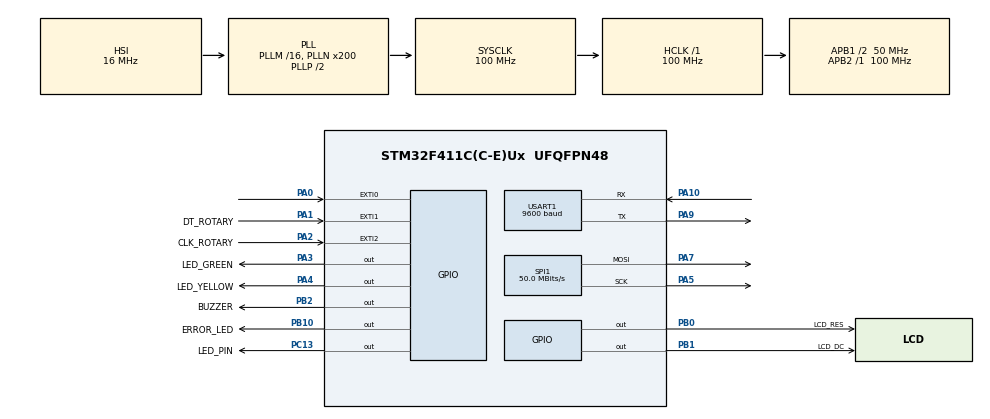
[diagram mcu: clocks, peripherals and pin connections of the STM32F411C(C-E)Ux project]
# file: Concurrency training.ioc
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Dma.Request0=SPI1_TX
Dma.SPI1_TX.0.Direction=DMA_MEMORY_TO_PERIPH
Dma.SPI1_TX.0.FIFOMode=DMA_FIFOMODE_DISABLE
Dma.SPI1_TX.0.Instance=DMA2_Stream2
Dma.SPI1_TX.0.MemDataAlignment=DMA_MDATAALIGN_BYTE
Dma.SPI1_TX.0.MemInc=DMA_MINC_ENABLE
Dma.SPI1_TX.0.Mode=DMA_NORMAL
Dma.SPI1_TX.0.PeriphDataAlignment=DMA_PDATAALIGN_BYTE
Dma.SPI1_TX.0.PeriphInc=DMA_PINC_DISABLE
Dma.SPI1_TX.0.Priority=DMA_PRIORITY_LOW
Mcu.Family=STM32F4
Mcu.Name=STM32F411C(C-E)Ux
Mcu.Package=UFQFPN48
NVIC.DMA2_Stream2_IRQn=true\:0\:0\:false\:false\:true\:false\:true\:true
NVIC.EXTI0_IRQn=true\:0\:0\:false\:false\:true\:true\:true\:true
NVIC.EXTI1_IRQn=true\:0\:0\:true\:false\:true\:true\:true\:true
NVIC.EXTI2_IRQn=true\:0\:0\:true\:false\:true\:true\:true\:true
NVIC.PriorityGroup=NVIC_PRIORITYGROUP_4
NVIC.TIM1_TRG_COM_TIM11_IRQn=true\:0\:0\:true\:false\:true\:true\:true\:true
NVIC.USART1_IRQn=true\:0\:0\:false\:false\:true\:true\:true\:true
PA0-WKUP.GPIO_ModeDefaultEXTI=GPIO_MODE_IT_FALLING
PA0-WKUP.Signal=GPXTI0
PA1.GPIO_Label=DT_ROTARY
PA1.GPIO_ModeDefaultEXTI=GPIO_MODE_IT_RISING_FALLING
PA1.Signal=GPXTI1
PA10.Mode=Asynchronous
PA10.Signal=USART1_RX
PA13.Mode=Serial_Wire
PA13.Signal=SYS_JTMS-SWDIO
PA14.Mode=Serial_Wire
PA14.Signal=SYS_JTCK-SWCLK
PA2.GPIO_Label=CLK_ROTARY
PA2.GPIO_ModeDefaultEXTI=GPIO_MODE_IT_RISING_FALLING
PA2.Signal=GPXTI2
PA3.GPIO_Label=LED_GREEN
PA3.Signal=GPIO_Output
PA4.GPIO_Label=LED_YELLOW
PA4.Signal=GPIO_Output
PA5.GPIO_PuPd=GPIO_PULLUP
PA5.Mode=TX_Only_Simplex_Unidirect_Master
PA5.Signal=SPI1_SCK
PA7.GPIO_PuPd=GPIO_PULLUP
PA7.Mode=TX_Only_Simplex_Unidirect_Master
PA7.Signal=SPI1_MOSI
PA9.Mode=Asynchronous
PA9.Signal=USART1_TX
PB0.GPIO_Label=LCD_RES
PB0.Signal=GPIO_Output
PB1.GPIO_Label=LCD_DC
PB1.Signal=GPIO_Output
PB10.GPIO_Label=ERROR_LED
PB10.Signal=GPIO_Output
PB2.GPIO_Label=BUZZER
PB2.Signal=GPIO_Output
PB6.GPIO_Label=B6_SCL
PB6.Signal=I2C1_SCL
PB7.GPIO_Label=B7_SDA
PB7.Signal=I2C1_SDA
PC13-ANTI_TAMP.GPIO_Label=LED_PIN
PC13-ANTI_TAMP.Signal=GPIO_Output
PC14-OSC32_IN.Mode=LSE-External-Oscillator
PC14-OSC32_IN.Signal=RCC_OSC32_IN
PC15-OSC32_OUT.Mode=LSE-External-Oscillator
PC15-OSC32_OUT.Signal=RCC_OSC32_OUT
PH0\ -\ OSC_IN.Mode=HSE-External-Oscillator
PH0\ -\ OSC_IN.Signal=RCC_OSC_IN
PH1\ -\ OSC_OUT.Mode=HSE-External-Oscillator
PH1\ -\ OSC_OUT.Signal=RCC_OSC_OUT
ProjectManager.HeapSize=0x200
ProjectManager.StackSize=0x400
ProjectManager.TargetToolchain=STM32CubeIDE
RCC.48MHZClocksFreq_Value=50000000
RCC.AHBFreq_Value=100000000
RCC.APB1CLKDivider=RCC_HCLK_DIV2
RCC.APB1Freq_Value=50000000
RCC.APB1TimFreq_Value=100000000
RCC.APB2Freq_Value=100000000
RCC.APB2TimFreq_Value=100000000
RCC.CortexFreq_Value=100000000
RCC.HCLKFreq_Value=100000000
RCC.HSE_VALUE=25000000
RCC.HSI_VALUE=16000000
RCC.PLLN=200
RCC.SYSCLKFreq_VALUE=100000000
RCC.SYSCLKSource=RCC_SYSCLKSOURCE_PLLCLK
RCC.VCOOutputFreq_Value=200000000
SPI1.BaudRatePrescaler=SPI_BAUDRATEPRESCALER_2
SPI1.CLKPolarity=SPI_POLARITY_HIGH
SPI1.CalculateBaudRate=50.0 MBits/s
SPI1.DataSize=SPI_DATASIZE_16BIT
SPI1.Direction=SPI_DIRECTION_2LINES
SPI1.FirstBit=SPI_FIRSTBIT_MSB
SPI1.Mode=SPI_MODE_MASTER
SPI1.VirtualType=VM_MASTER
TIM11.AutoReloadPreload=TIM_AUTORELOAD_PRELOAD_DISABLE
TIM11.Channel=TIM_CHANNEL_1
TIM11.Period=1000-1
TIM11.Prescaler=100-1
USART1.BaudRate=9600
USART1.VirtualMode=VM_ASYNC
VP_TIM11_VS_ClockSourceINT.Mode=Enable_Timer
board=custom

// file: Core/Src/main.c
/* USER CODE BEGIN Header */
/**
  ******************************************************************************
  * @file           : main.c
  * @brief          : Main program body
  ******************************************************************************
  * @attention
  *
  * Copyright (c) 2024 STMicroelectronics.
  * All rights reserved.
  *
  * This software is licensed under terms that can be found in the LICENSE file
  * in the root directory of this software component.
  * If no LICENSE file comes with this software, it is provided AS-IS.
  *
  ******************************************************************************
  */
/* USER CODE END Header */
#include "main.h"

/* USER CODE BEGIN Includes */

//INCLUDE THE CPP ENTRY POINT FUNCTION WRAPPER
#include "MainCPP.hpp"

/* USER CODE END Includes */

SPI_HandleTypeDef hspi1;
DMA_HandleTypeDef hdma_spi1_tx;

TIM_HandleTypeDef htim11;

UART_HandleTypeDef huart1;

void SystemClock_Config(void);
static void MX_GPIO_Init(void);
static void MX_DMA_Init(void);
static void MX_SPI1_Init(void);
static void MX_USART1_UART_Init(void);
static void MX_TIM11_Init(void);

int main(void)
{

  /* MCU Configuration--------------------------------------------------------*/

  /* Reset of all peripherals, Initializes the Flash interface and the Systick. */
  HAL_Init();

  /* Configure the system clock */
  SystemClock_Config();

  /* Initialize all configured peripherals */
  MX_GPIO_Init();
  MX_DMA_Init();
  MX_SPI1_Init();
  MX_USART1_UART_Init();
  MX_TIM11_Init();
  /* USER CODE BEGIN 2 */

  //Start Event Loop Timer (TIM11)

  HAL_TIM_Base_Start_IT(&htim11);

  /*************  CPP Entry point  ****************/
  MainC();
  /************************************************/
  /* USER CODE END 2 */

  /* Infinite loop */
  while (1)
  {

  }
}

void SystemClock_Config(void)
{
  RCC_OscInitTypeDef RCC_OscInitStruct = {0};
  RCC_ClkInitTypeDef RCC_ClkInitStruct = {0};

  /** Configure the main internal regulator output voltage
  */
  __HAL_RCC_PWR_CLK_ENABLE();
  __HAL_PWR_VOLTAGESCALING_CONFIG(PWR_REGULATOR_VOLTAGE_SCALE1);

  /** Initializes the RCC Oscillators according to the specified parameters
  * in the RCC_OscInitTypeDef structure.
  */
  RCC_OscInitStruct.OscillatorType = RCC_OSCILLATORTYPE_HSI;
  RCC_OscInitStruct.HSIState = RCC_HSI_ON;
  RCC_OscInitStruct.HSICalibrationValue = RCC_HSICALIBRATION_DEFAULT;
  RCC_OscInitStruct.PLL.PLLState = RCC_PLL_ON;
  RCC_OscInitStruct.PLL.PLLSource = RCC_PLLSOURCE_HSI;
  RCC_OscInitStruct.PLL.PLLM = 16;
  RCC_OscInitStruct.PLL.PLLN = 200;
  RCC_OscInitStruct.PLL.PLLP = RCC_PLLP_DIV2;
  RCC_OscInitStruct.PLL.PLLQ = 4;
  if (HAL_RCC_OscConfig(&RCC_OscInitStruct) != HAL_OK)
  {
    Error_Handler();
  }

  /** Initializes the CPU, AHB and APB buses clocks
  */
  RCC_ClkInitStruct.ClockType = RCC_CLOCKTYPE_HCLK|RCC_CLOCKTYPE_SYSCLK
                              |RCC_CLOCKTYPE_PCLK1|RCC_CLOCKTYPE_PCLK2;
  RCC_ClkInitStruct.SYSCLKSource = RCC_SYSCLKSOURCE_PLLCLK;
  RCC_ClkInitStruct.AHBCLKDivider = RCC_SYSCLK_DIV1;
  RCC_ClkInitStruct.APB1CLKDivider = RCC_HCLK_DIV2;
  RCC_ClkInitStruct.APB2CLKDivider = RCC_HCLK_DIV1;

  if (HAL_RCC_ClockConfig(&RCC_ClkInitStruct, FLASH_LATENCY_3) != HAL_OK)
  {
    Error_Handler();
  }
}

static void MX_SPI1_Init(void)
{

  /* SPI1 parameter configuration*/
  hspi1.Instance = SPI1;
  hspi1.Init.Mode = SPI_MODE_MASTER;
  hspi1.Init.Direction = SPI_DIRECTION_2LINES;
  hspi1.Init.DataSize = SPI_DATASIZE_16BIT;
  hspi1.Init.CLKPolarity = SPI_POLARITY_HIGH;
  hspi1.Init.CLKPhase = SPI_PHASE_1EDGE;
  hspi1.Init.NSS = SPI_NSS_SOFT;
  hspi1.Init.BaudRatePrescaler = SPI_BAUDRATEPRESCALER_2;
  hspi1.Init.FirstBit = SPI_FIRSTBIT_MSB;
  hspi1.Init.TIMode = SPI_TIMODE_DISABLE;
  hspi1.Init.CRCCalculation = SPI_CRCCALCULATION_DISABLE;
  hspi1.Init.CRCPolynomial = 10;
  if (HAL_SPI_Init(&hspi1) != HAL_OK)
  {
    Error_Handler();
  }

}

static void MX_TIM11_Init(void)
{

  htim11.Instance = TIM11;
  htim11.Init.Prescaler = 100-1;
  htim11.Init.CounterMode = TIM_COUNTERMODE_UP;
  htim11.Init.Period = 1000-1;
  htim11.Init.ClockDivision = TIM_CLOCKDIVISION_DIV1;
  htim11.Init.AutoReloadPreload = TIM_AUTORELOAD_PRELOAD_DISABLE;
  if (HAL_TIM_Base_Init(&htim11) != HAL_OK)
  {
    Error_Handler();
  }

}

static void MX_USART1_UART_Init(void)
{

  huart1.Instance = USART1;
  huart1.Init.BaudRate = 9600;
  huart1.Init.WordLength = UART_WORDLENGTH_8B;
  huart1.Init.StopBits = UART_STOPBITS_1;
  huart1.Init.Parity = UART_PARITY_NONE;
  huart1.Init.Mode = UART_MODE_TX_RX;
  huart1.Init.HwFlowCtl = UART_HWCONTROL_NONE;
  huart1.Init.OverSampling = UART_OVERSAMPLING_16;
  if (HAL_UART_Init(&huart1) != HAL_OK)
  {
    Error_Handler();
  }

}

static void MX_DMA_Init(void)
{

  /* DMA controller clock enable */
  __HAL_RCC_DMA2_CLK_ENABLE();

  /* DMA interrupt init */
  /* DMA2_Stream2_IRQn interrupt configuration */
  HAL_NVIC_SetPriority(DMA2_Stream2_IRQn, 0, 0);
  HAL_NVIC_EnableIRQ(DMA2_Stream2_IRQn);

}

static void MX_GPIO_Init(void)
{
  GPIO_InitTypeDef GPIO_InitStruct = {0};

  /* GPIO Ports Clock Enable */
  __HAL_RCC_GPIOC_CLK_ENABLE();
  __HAL_RCC_GPIOH_CLK_ENABLE();
  __HAL_RCC_GPIOA_CLK_ENABLE();
  __HAL_RCC_GPIOB_CLK_ENABLE();

  /*Configure GPIO pin Output Level */
  HAL_GPIO_WritePin(LED_PIN_GPIO_Port, LED_PIN_Pin, GPIO_PIN_RESET);

  /*Configure GPIO pin Output Level */
  HAL_GPIO_WritePin(GPIOA, LED_GREEN_Pin|LED_YELLOW_Pin, GPIO_PIN_RESET);

  /*Configure GPIO pin Output Level */
  HAL_GPIO_WritePin(GPIOB, LCD_RES_Pin|LCD_DC_Pin|BUZZER_Pin|ERROR_LED_Pin, GPIO_PIN_RESET);

  /*Configure GPIO pin : LED_PIN_Pin */
  GPIO_InitStruct.Pin = LED_PIN_Pin;
  GPIO_InitStruct.Mode = GPIO_MODE_OUTPUT_PP;
  GPIO_InitStruct.Pull = GPIO_NOPULL;
  GPIO_InitStruct.Speed = GPIO_SPEED_FREQ_LOW;
  HAL_GPIO_Init(LED_PIN_GPIO_Port, &GPIO_InitStruct);

  /*Configure GPIO pin : PA0 */
  GPIO_InitStruct.Pin = GPIO_PIN_0;
  GPIO_InitStruct.Mode = GPIO_MODE_IT_FALLING;
  GPIO_InitStruct.Pull = GPIO_NOPULL;
  HAL_GPIO_Init(GPIOA, &GPIO_InitStruct);

  /*Configure GPIO pins : DT_ROTARY_Pin CLK_ROTARY_Pin */
  GPIO_InitStruct.Pin = DT_ROTARY_Pin|CLK_ROTARY_Pin;
  GPIO_InitStruct.Mode = GPIO_MODE_IT_RISING_FALLING;
  GPIO_InitStruct.Pull = GPIO_NOPULL;
  HAL_GPIO_Init(GPIOA, &GPIO_InitStruct);

  /*Configure GPIO pins : LED_GREEN_Pin LED_YELLOW_Pin */
  GPIO_InitStruct.Pin = LED_GREEN_Pin|LED_YELLOW_Pin;
  GPIO_InitStruct.Mode = GPIO_MODE_OUTPUT_PP;
  GPIO_InitStruct.Pull = GPIO_NOPULL;
  GPIO_InitStruct.Speed = GPIO_SPEED_FREQ_LOW;
  HAL_GPIO_Init(GPIOA, &GPIO_InitStruct);

  /*Configure GPIO pins : LCD_RES_Pin LCD_DC_Pin BUZZER_Pin ERROR_LED_Pin */
  GPIO_InitStruct.Pin = LCD_RES_Pin|LCD_DC_Pin|BUZZER_Pin|ERROR_LED_Pin;
  GPIO_InitStruct.Mode = GPIO_MODE_OUTPUT_PP;
  GPIO_InitStruct.Pull = GPIO_NOPULL;
  GPIO_InitStruct.Speed = GPIO_SPEED_FREQ_LOW;
  HAL_GPIO_Init(GPIOB, &GPIO_InitStruct);

  /*Configure GPIO pins : B6_SCL_Pin B7_SDA_Pin */
  GPIO_InitStruct.Pin = B6_SCL_Pin|B7_SDA_Pin;
  GPIO_InitStruct.Mode = GPIO_MODE_AF_OD;
  GPIO_InitStruct.Pull = GPIO_NOPULL;
  GPIO_InitStruct.Speed = GPIO_SPEED_FREQ_VERY_HIGH;
  GPIO_InitStruct.Alternate = GPIO_AF4_I2C1;
  HAL_GPIO_Init(GPIOB, &GPIO_InitStruct);

  /* EXTI interrupt init*/
  HAL_NVIC_SetPriority(EXTI0_IRQn, 0, 0);
  HAL_NVIC_EnableIRQ(EXTI0_IRQn);

  HAL_NVIC_SetPriority(EXTI1_IRQn, 0, 0);
  HAL_NVIC_EnableIRQ(EXTI1_IRQn);

  HAL_NVIC_SetPriority(EXTI2_IRQn, 0, 0);
  HAL_NVIC_EnableIRQ(EXTI2_IRQn);

}

/* USER CODE BEGIN 4 */

//TODO
/********************************************/
/******         EXTI CALLBACK          ******/
/********************************************/
//    This wrapper needs to be placed in here
/********************************************/

void HAL_GPIO_EXTI_Callback(uint16_t GPIO_Pin){
	//DESABLE THE ASYNC LOOP WHILE HANDLING PIN INTERRUPTS
	HAL_TIM_Base_Stop_IT(&htim11);
	if((GPIO_Pin == GPIO_PIN_1) || (GPIO_Pin == GPIO_PIN_2)){
		RotaryEncoderWrapper();//performs the rotary decoding logic here
	}
	if(GPIO_Pin == GPIO_PIN_0){
		ButtonEncoderWrapper();
	}
	//ENABLE THE ASYNC LOOP AFTER PIN INTERRUPTS ARE DECODED
	HAL_TIM_Base_Start_IT(&htim11);

	}

void HAL_TIM_PeriodElapsedCallback(TIM_HandleTypeDef *htim){
	GPIOC->ODR &= ~GPIO_PIN_13; // SET BLUE led
	//DISABLE PIN INTERRUPTS WHILE EXECUTING THE LOOP
	HAL_NVIC_DisableIRQ	(EXTI0_IRQn);
	HAL_NVIC_DisableIRQ	(EXTI1_IRQn);
	HAL_NVIC_DisableIRQ	(EXTI2_IRQn);
	//EXECUTE THE LOOP
	EVENT_LOOP_WRAPPER();
	//ENABLE PIN INTERRUPTS AFTER THE LOOP EXECUTED
	HAL_NVIC_EnableIRQ	(EXTI0_IRQn);
	HAL_NVIC_EnableIRQ	(EXTI1_IRQn);
	HAL_NVIC_EnableIRQ	(EXTI2_IRQn);
	GPIOC->ODR |= GPIO_PIN_13; // RESET BLUE led
}

/* USER CODE END 4 */

void Error_Handler(void)
{
  /* USER CODE BEGIN Error_Handler_Debug */
  /* User can add his own implementation to report the HAL error return state */
  __disable_irq();
  while (1)
  {
	  GPIOC -> ODR ^= GPIO_PIN_13;
	  for(uint32_t _ = 0; _ < 50000000; _++){
		  __NOP();
	  }
  }
  /* USER CODE END Error_Handler_Debug */
}
